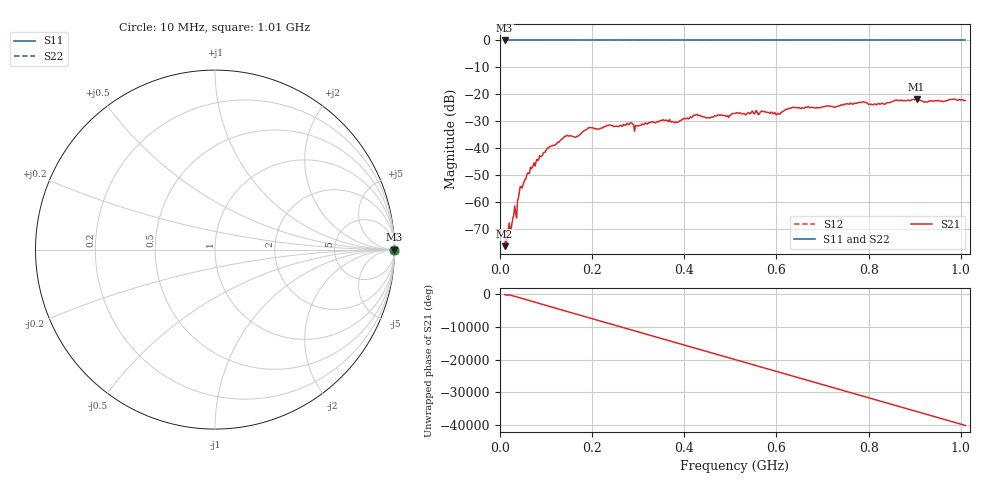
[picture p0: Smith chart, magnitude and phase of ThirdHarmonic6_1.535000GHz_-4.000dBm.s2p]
! 8/16/2025 6:10:47 PM
! C:\ANRITSUVNA\TEMP\TEMP.S2P
! CHANNEL.1
! TR.MEASUREMENT
! RAW.DATA
! RF.CORRECTION.OFF
! AVERAGING.OFF
! IF.BANDWIDTH: 5KHZ
! SWEEPTYPE:  FREQ.SWEEP(Linear)
! Reference Plane Port Info
! PORT:  PORT1  PORT2
! DISTANCE:  0  m  0  m
! TIME:  0  s  0  s
! PHASE.OFFSET:  0  deg.  0  deg.
! LOSS:  0  dB  0  dB
! REF.LOSS:  0  dB  0  dB
! REF.FREQ:  0  Hz  0  Hz
! Power Info
! POWER:  -20  dBm  -20  dBm
! EFF.POWER:  -20  dBm  -20  dBm
! SOURCE.ATTEN:  0  dB  0  dB
! TEST.ATTEN:  0  dB  0  dB
# GHZ S RI R 50.0
! FREQ.GHZ  S11RE  S11IM  S21RE  S21IM  S12RE  S12IM  S22RE  S22IM
!; PortSelection: Port_12
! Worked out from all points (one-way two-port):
!   501 points, 10 MHz to 1.01 GHz, reference 50 ohm
!   highest |S21| = -21.72 dB at 904 MHz (marker M1); lowest = -76.3 dB at 10 MHz (marker M2)
!   lowest |S11| = 0.0 dB at 10 MHz (marker M3)
!   |S11| at or under -10 dB: nowhere
!   |S22| runs from 0.0 to 0.0 dB; largest |S21 - S12| = 1.1
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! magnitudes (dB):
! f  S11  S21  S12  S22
! 10 MHz  0.0  -76.3  0.0  0.0
! 32 MHz  0.0  -61.4  0.0  0.0
! 46 MHz  0.0  -54.3  0.0  0.0
! 70 MHz  0.0  -47.0  0.0  0.0
! 106 MHz  0.0  -39.8  0.0  0.0
! 142 MHz  0.0  -35.6  0.0  0.0
! 166 MHz  0.0  -35.6  0.0  0.0
! 178 MHz  0.0  -34.1  0.0  0.0
! 196 MHz  0.0  -32.3  0.0  0.0
! 284 MHz  0.0  -30.5  0.0  0.0
! 296 MHz  0.0  -31.6  0.0  0.0
! 344 MHz  0.0  -30.2  0.0  0.0
! 382 MHz  0.0  -30.2  0.0  0.0
! 424 MHz  0.0  -27.8  0.0  0.0
! 452 MHz  0.0  -28.7  0.0  0.0
! 510 MHz  0.0  -27.0  0.0  0.0
! 604 MHz  0.0  -27.1  0.0  0.0
! 632 MHz  0.0  -25.1  0.0  0.0
! 678 MHz  0.0  -24.8  0.0  0.0
! 844 MHz  0.0  -23.1  0.0  0.0
! 904 MHz  0.0  -21.7  0.0  0.0
! 1.01 GHz  0.0  -22.2  0.0  0.0
